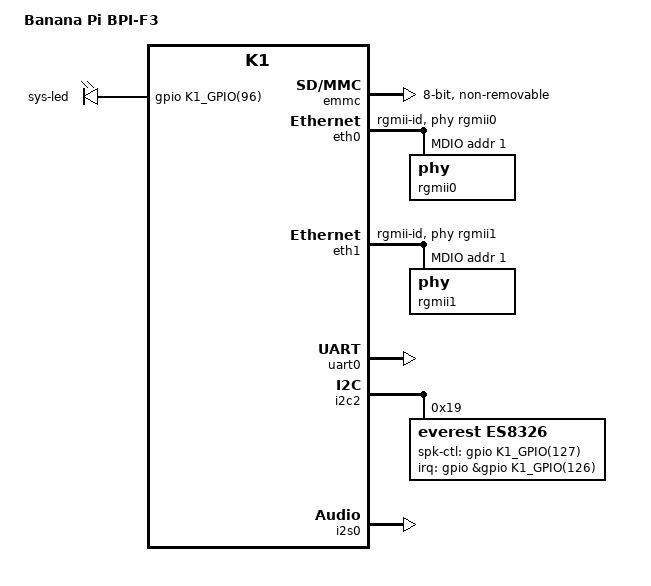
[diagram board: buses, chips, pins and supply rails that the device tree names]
// SPDX-License-Identifier: GPL-2.0 OR MIT
/*
 * Copyright (C) 2024 Yangyu Chen <cyy@cyyself.name>
 */

#include "k1.dtsi"
#include "k1-pinctrl.dtsi"

/ {
	model = "Banana Pi BPI-F3";
	compatible = "bananapi,bpi-f3", "spacemit,k1";

	aliases {
		ethernet0 = &eth0;
		ethernet1 = &eth1;
		serial0 = &uart0;
	};

	chosen {
		stdout-path = "serial0";
	};

	leds {
		compatible = "gpio-leds";

		led1 {
			label = "sys-led";
			gpios = <&gpio K1_GPIO(96) GPIO_ACTIVE_HIGH>;
			linux,default-trigger = "heartbeat";
			default-state = "on";
		};
	};
};

&emmc {
	bus-width = <8>;
	mmc-hs400-1_8v;
	mmc-hs400-enhanced-strobe;
	non-removable;
	no-sd;
	no-sdio;
	status = "okay";
};

&pdma {
	status = "okay";
};

&eth0 {
	phy-handle = <&rgmii0>;
	phy-mode = "rgmii-id";
	pinctrl-names = "default";
	pinctrl-0 = <&gmac0_cfg>;
	rx-internal-delay-ps = <0>;
	tx-internal-delay-ps = <0>;
	status = "okay";

	mdio-bus {
		#address-cells = <0x1>;
		#size-cells = <0x0>;

		reset-gpios = <&gpio K1_GPIO(110) GPIO_ACTIVE_LOW>;
		reset-delay-us = <10000>;
		reset-post-delay-us = <100000>;

		rgmii0: phy@1 {
			reg = <0x1>;
		};
	};
};

&eth1 {
	phy-handle = <&rgmii1>;
	phy-mode = "rgmii-id";
	pinctrl-names = "default";
	pinctrl-0 = <&gmac1_cfg>;
	rx-internal-delay-ps = <0>;
	tx-internal-delay-ps = <250>;
	status = "okay";

	mdio-bus {
		#address-cells = <0x1>;
		#size-cells = <0x0>;

		reset-gpios = <&gpio K1_GPIO(115) GPIO_ACTIVE_LOW>;
		reset-delay-us = <10000>;
		reset-post-delay-us = <100000>;

		rgmii1: phy@1 {
			reg = <0x1>;
		};
	};
};

&uart0 {
	pinctrl-names = "default";
	pinctrl-0 = <&uart0_2_cfg>;
	status = "okay";
};

&i2c2 {
	status = "okay";
	pinctrl-0 = <&i2c2_4_cfg>;
	pinctrl-names = "default";

	es8326: es8326@19{
		compatible = "everest,es8326";
		reg = <0x19>;
		#sound-dai-cells = <0>;
		interrupt-parent = <&gpio>;
		interrupts = <&gpio K1_GPIO(126) 1>;
		spk-ctl-gpio = <&gpio K1_GPIO(127) 0>;
		everest,mic1-src = [44];
		everest,mic2-src = [66];
		status = "okay";
	};
};

&i2s0 {
	status = "okay";
	pinctrl-0 = <&sspa0_3_cfg>;
	pinctrl-names = "default";
};

&sound_card {
	/*mclk-fs = <256>;*/
	simple-audio-card,mclk-fs = <256>;
	simple-audio-card,dai-link@0 {
		reg = <0>;
		format = "i2s";
		frame-master = <&link0_cpu>;
		bitclock-master = <&link0_cpu>;

		link0_cpu: cpu {
			sound-dai = <&i2s0>;
		};

		link0_codec: codec {
			sound-dai = <&es8326>;
		};
	};
};

&pdma {
	status = "okay";
};

&eth0 {
       phy-handle = <&rgmii0>;
       phy-mode = "rgmii-id";
       pinctrl-names = "default";
       pinctrl-0 = <&gmac0_cfg>;
       rx-internal-delay-ps = <0>;
       tx-internal-delay-ps = <0>;
       status = "okay";

       mdio-bus {
               #address-cells = <0x1>;
               #size-cells = <0x0>;

               reset-gpios = <&gpio K1_GPIO(110) GPIO_ACTIVE_LOW>;
               reset-delay-us = <10000>;
               reset-post-delay-us = <100000>;

               rgmii0: phy@1 {
                       reg = <0x1>;
               };
       };
};

&eth1 {
       phy-handle = <&rgmii1>;
       phy-mode = "rgmii-id";
       pinctrl-names = "default";
       pinctrl-0 = <&gmac1_cfg>;
       rx-internal-delay-ps = <0>;
       tx-internal-delay-ps = <250>;
       status = "okay";

       mdio-bus {
               #address-cells = <0x1>;
               #size-cells = <0x0>;

               reset-gpios = <&gpio K1_GPIO(115) GPIO_ACTIVE_LOW>;
               reset-delay-us = <10000>;
               reset-post-delay-us = <100000>;

               rgmii1: phy@1 {
                       reg = <0x1>;
               };
       };
};

